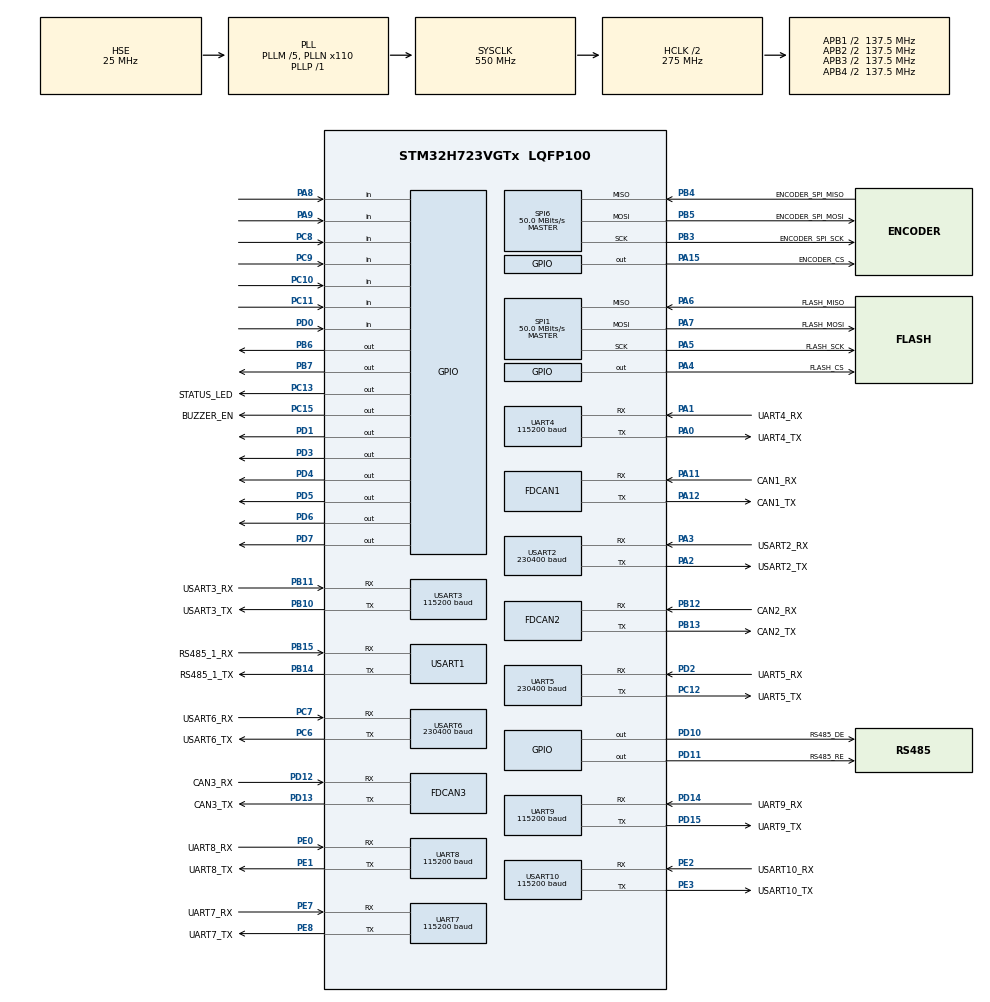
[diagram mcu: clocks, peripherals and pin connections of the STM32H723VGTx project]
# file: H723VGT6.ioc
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Bdma.Request0=SPI6_RX
Bdma.RequestsNb=1
Bdma.SPI6_RX.0.Direction=DMA_PERIPH_TO_MEMORY
Bdma.SPI6_RX.0.EventEnable=DISABLE
Bdma.SPI6_RX.0.Instance=BDMA_Channel0
Bdma.SPI6_RX.0.MemDataAlignment=DMA_MDATAALIGN_BYTE
Bdma.SPI6_RX.0.MemInc=DMA_MINC_ENABLE
Bdma.SPI6_RX.0.Mode=DMA_NORMAL
Bdma.SPI6_RX.0.PeriphDataAlignment=DMA_PDATAALIGN_BYTE
Bdma.SPI6_RX.0.PeriphInc=DMA_PINC_DISABLE
Bdma.SPI6_RX.0.Polarity=HAL_DMAMUX_REQ_GEN_RISING
Bdma.SPI6_RX.0.Priority=DMA_PRIORITY_LOW
Bdma.SPI6_RX.0.RequestNumber=1
Bdma.SPI6_RX.0.SignalID=NONE
Bdma.SPI6_RX.0.SyncEnable=DISABLE
Bdma.SPI6_RX.0.SyncPolarity=HAL_DMAMUX_SYNC_NO_EVENT
Bdma.SPI6_RX.0.SyncRequestNumber=1
Bdma.SPI6_RX.0.SyncSignalID=NONE
CORTEX_M7.CPU_DCache=Enabled
CORTEX_M7.CPU_ICache=Enabled
CORTEX_M7.default_mode_Activation=1
Dma.Request0=UART7_RX
Dma.Request1=UART7_TX
Dma.Request10=UART9_RX
Dma.Request11=USART3_RX
Dma.Request2=USART1_RX
Dma.Request3=SPI1_RX
Dma.Request4=SPI1_TX
Dma.Request5=UART5_RX
Dma.Request6=USART6_RX
Dma.Request7=USART2_RX
Dma.Request8=UART8_RX
Dma.Request9=UART4_RX
Dma.SPI1_RX.3.Direction=DMA_PERIPH_TO_MEMORY
Dma.SPI1_RX.3.EventEnable=DISABLE
Dma.SPI1_RX.3.FIFOMode=DMA_FIFOMODE_DISABLE
Dma.SPI1_RX.3.Instance=DMA1_Stream6
Dma.SPI1_RX.3.MemDataAlignment=DMA_MDATAALIGN_BYTE
Dma.SPI1_RX.3.MemInc=DMA_MINC_ENABLE
Dma.SPI1_RX.3.Mode=DMA_NORMAL
Dma.SPI1_RX.3.PeriphDataAlignment=DMA_PDATAALIGN_BYTE
Dma.SPI1_RX.3.PeriphInc=DMA_PINC_DISABLE
Dma.SPI1_RX.3.Polarity=HAL_DMAMUX_REQ_GEN_RISING
Dma.SPI1_RX.3.Priority=DMA_PRIORITY_HIGH
Dma.SPI1_RX.3.RequestNumber=1
Dma.SPI1_RX.3.SignalID=NONE
Dma.SPI1_RX.3.SyncEnable=DISABLE
Dma.SPI1_RX.3.SyncPolarity=HAL_DMAMUX_SYNC_NO_EVENT
Dma.SPI1_RX.3.SyncRequestNumber=1
Dma.SPI1_RX.3.SyncSignalID=NONE
Dma.SPI1_TX.4.Direction=DMA_MEMORY_TO_PERIPH
Dma.SPI1_TX.4.EventEnable=DISABLE
Dma.SPI1_TX.4.FIFOMode=DMA_FIFOMODE_DISABLE
Dma.SPI1_TX.4.Instance=DMA1_Stream7
Dma.SPI1_TX.4.MemDataAlignment=DMA_MDATAALIGN_BYTE
Dma.SPI1_TX.4.MemInc=DMA_MINC_ENABLE
Dma.SPI1_TX.4.Mode=DMA_NORMAL
Dma.SPI1_TX.4.PeriphDataAlignment=DMA_PDATAALIGN_BYTE
Dma.SPI1_TX.4.PeriphInc=DMA_PINC_DISABLE
Dma.SPI1_TX.4.Polarity=HAL_DMAMUX_REQ_GEN_RISING
Dma.SPI1_TX.4.Priority=DMA_PRIORITY_HIGH
Dma.SPI1_TX.4.RequestNumber=1
Dma.SPI1_TX.4.SignalID=NONE
Dma.SPI1_TX.4.SyncEnable=DISABLE
Dma.SPI1_TX.4.SyncPolarity=HAL_DMAMUX_SYNC_NO_EVENT
Dma.SPI1_TX.4.SyncRequestNumber=1
Dma.SPI1_TX.4.SyncSignalID=NONE
Dma.UART4_RX.9.Direction=DMA_PERIPH_TO_MEMORY
Dma.UART4_RX.9.EventEnable=DISABLE
Dma.UART4_RX.9.FIFOMode=DMA_FIFOMODE_DISABLE
Dma.UART4_RX.9.Instance=DMA2_Stream3
Dma.UART4_RX.9.MemDataAlignment=DMA_MDATAALIGN_BYTE
Dma.UART4_RX.9.MemInc=DMA_MINC_ENABLE
Dma.UART4_RX.9.Mode=DMA_CIRCULAR
Dma.UART4_RX.9.PeriphDataAlignment=DMA_PDATAALIGN_BYTE
Dma.UART4_RX.9.PeriphInc=DMA_PINC_DISABLE
Dma.UART4_RX.9.Polarity=HAL_DMAMUX_REQ_GEN_RISING
Dma.UART4_RX.9.Priority=DMA_PRIORITY_VERY_HIGH
Dma.UART4_RX.9.RequestNumber=1
Dma.UART4_RX.9.SignalID=NONE
Dma.UART4_RX.9.SyncEnable=DISABLE
Dma.UART4_RX.9.SyncPolarity=HAL_DMAMUX_SYNC_NO_EVENT
Dma.UART4_RX.9.SyncRequestNumber=1
Dma.UART4_RX.9.SyncSignalID=NONE
Dma.UART5_RX.5.Direction=DMA_PERIPH_TO_MEMORY
Dma.UART5_RX.5.EventEnable=DISABLE
Dma.UART5_RX.5.FIFOMode=DMA_FIFOMODE_DISABLE
Dma.UART5_RX.5.Instance=DMA2_Stream0
Dma.UART5_RX.5.MemDataAlignment=DMA_MDATAALIGN_BYTE
Dma.UART5_RX.5.MemInc=DMA_MINC_ENABLE
Dma.UART5_RX.5.Mode=DMA_CIRCULAR
Dma.UART5_RX.5.PeriphDataAlignment=DMA_PDATAALIGN_BYTE
Dma.UART5_RX.5.PeriphInc=DMA_PINC_DISABLE
Dma.UART5_RX.5.Polarity=HAL_DMAMUX_REQ_GEN_RISING
Dma.UART5_RX.5.Priority=DMA_PRIORITY_VERY_HIGH
Dma.UART5_RX.5.RequestNumber=1
Dma.UART5_RX.5.SignalID=NONE
Dma.UART5_RX.5.SyncEnable=DISABLE
Dma.UART5_RX.5.SyncPolarity=HAL_DMAMUX_SYNC_NO_EVENT
Dma.UART5_RX.5.SyncRequestNumber=1
Dma.UART5_RX.5.SyncSignalID=NONE
Dma.UART7_RX.0.Direction=DMA_PERIPH_TO_MEMORY
Dma.UART7_RX.0.EventEnable=DISABLE
Dma.UART7_RX.0.FIFOMode=DMA_FIFOMODE_DISABLE
Dma.UART7_RX.0.Instance=DMA1_Stream0
Dma.UART7_RX.0.MemDataAlignment=DMA_MDATAALIGN_BYTE
Dma.UART7_RX.0.MemInc=DMA_MINC_ENABLE
Dma.UART7_RX.0.Mode=DMA_CIRCULAR
Dma.UART7_RX.0.PeriphDataAlignment=DMA_PDATAALIGN_BYTE
Dma.UART7_RX.0.PeriphInc=DMA_PINC_DISABLE
Dma.UART7_RX.0.Polarity=HAL_DMAMUX_REQ_GEN_RISING
Dma.UART7_RX.0.Priority=DMA_PRIORITY_VERY_HIGH
Dma.UART7_RX.0.RequestNumber=1
Dma.UART7_RX.0.SignalID=NONE
Dma.UART7_RX.0.SyncEnable=DISABLE
Dma.UART7_RX.0.SyncPolarity=HAL_DMAMUX_SYNC_NO_EVENT
Dma.UART7_RX.0.SyncRequestNumber=1
Dma.UART7_RX.0.SyncSignalID=NONE
Dma.UART7_TX.1.Direction=DMA_MEMORY_TO_PERIPH
Dma.UART7_TX.1.EventEnable=DISABLE
Dma.UART7_TX.1.FIFOMode=DMA_FIFOMODE_DISABLE
Dma.UART7_TX.1.Instance=DMA1_Stream1
Dma.UART7_TX.1.MemDataAlignment=DMA_MDATAALIGN_BYTE
Dma.UART7_TX.1.MemInc=DMA_MINC_ENABLE
Dma.UART7_TX.1.Mode=DMA_NORMAL
Dma.UART7_TX.1.PeriphDataAlignment=DMA_PDATAALIGN_BYTE
Dma.UART7_TX.1.PeriphInc=DMA_PINC_DISABLE
Dma.UART7_TX.1.Polarity=HAL_DMAMUX_REQ_GEN_RISING
Dma.UART7_TX.1.Priority=DMA_PRIORITY_HIGH
Dma.UART7_TX.1.RequestNumber=1
Dma.UART7_TX.1.SignalID=NONE
Dma.UART7_TX.1.SyncEnable=DISABLE
Dma.UART7_TX.1.SyncPolarity=HAL_DMAMUX_SYNC_NO_EVENT
Dma.UART7_TX.1.SyncRequestNumber=1
Dma.UART7_TX.1.SyncSignalID=NONE
Dma.UART8_RX.8.Direction=DMA_PERIPH_TO_MEMORY
Dma.UART8_RX.8.EventEnable=DISABLE
Dma.UART8_RX.8.FIFOMode=DMA_FIFOMODE_DISABLE
Dma.UART8_RX.8.Instance=DMA2_Stream2
Dma.UART8_RX.8.MemDataAlignment=DMA_MDATAALIGN_BYTE
Dma.UART8_RX.8.MemInc=DMA_MINC_ENABLE
Dma.UART8_RX.8.Mode=DMA_CIRCULAR
Dma.UART8_RX.8.PeriphDataAlignment=DMA_PDATAALIGN_BYTE
Dma.UART8_RX.8.PeriphInc=DMA_PINC_DISABLE
Dma.UART8_RX.8.Polarity=HAL_DMAMUX_REQ_GEN_RISING
Dma.UART8_RX.8.Priority=DMA_PRIORITY_VERY_HIGH
Dma.UART8_RX.8.RequestNumber=1
Dma.UART8_RX.8.SignalID=NONE
Dma.UART8_RX.8.SyncEnable=DISABLE
Dma.UART8_RX.8.SyncPolarity=HAL_DMAMUX_SYNC_NO_EVENT
Dma.UART8_RX.8.SyncRequestNumber=1
Dma.UART8_RX.8.SyncSignalID=NONE
Dma.UART9_RX.10.Direction=DMA_PERIPH_TO_MEMORY
Dma.UART9_RX.10.EventEnable=DISABLE
Dma.UART9_RX.10.FIFOMode=DMA_FIFOMODE_DISABLE
Dma.UART9_RX.10.Instance=DMA1_Stream4
Dma.UART9_RX.10.MemDataAlignment=DMA_MDATAALIGN_BYTE
Dma.UART9_RX.10.MemInc=DMA_MINC_ENABLE
Dma.UART9_RX.10.Mode=DMA_CIRCULAR
Dma.UART9_RX.10.PeriphDataAlignment=DMA_PDATAALIGN_BYTE
Dma.UART9_RX.10.PeriphInc=DMA_PINC_DISABLE
Dma.UART9_RX.10.Polarity=HAL_DMAMUX_REQ_GEN_RISING
Dma.UART9_RX.10.Priority=DMA_PRIORITY_LOW
Dma.UART9_RX.10.RequestNumber=1
Dma.UART9_RX.10.SignalID=NONE
Dma.UART9_RX.10.SyncEnable=DISABLE
Dma.UART9_RX.10.SyncPolarity=HAL_DMAMUX_SYNC_NO_EVENT
Dma.UART9_RX.10.SyncRequestNumber=1
Dma.UART9_RX.10.SyncSignalID=NONE
Dma.USART1_RX.2.Direction=DMA_PERIPH_TO_MEMORY
Dma.USART1_RX.2.EventEnable=DISABLE
Dma.USART1_RX.2.FIFOMode=DMA_FIFOMODE_DISABLE
Dma.USART1_RX.2.Instance=DMA1_Stream2
Dma.USART1_RX.2.MemDataAlignment=DMA_MDATAALIGN_BYTE
Dma.USART1_RX.2.MemInc=DMA_MINC_ENABLE
Dma.USART1_RX.2.Mode=DMA_CIRCULAR
Dma.USART1_RX.2.PeriphDataAlignment=DMA_PDATAALIGN_BYTE
Dma.USART1_RX.2.PeriphInc=DMA_PINC_DISABLE
Dma.USART1_RX.2.Polarity=HAL_DMAMUX_REQ_GEN_RISING
Dma.USART1_RX.2.Priority=DMA_PRIORITY_VERY_HIGH
Dma.USART1_RX.2.RequestNumber=1
Dma.USART1_RX.2.SignalID=NONE
Dma.USART1_RX.2.SyncEnable=DISABLE
Dma.USART1_RX.2.SyncPolarity=HAL_DMAMUX_SYNC_NO_EVENT
Dma.USART1_RX.2.SyncRequestNumber=1
Dma.USART1_RX.2.SyncSignalID=NONE
Dma.USART2_RX.7.Direction=DMA_PERIPH_TO_MEMORY
Dma.USART2_RX.7.EventEnable=DISABLE
Dma.USART2_RX.7.FIFOMode=DMA_FIFOMODE_DISABLE
Dma.USART2_RX.7.Instance=DMA1_Stream3
Dma.USART2_RX.7.MemDataAlignment=DMA_MDATAALIGN_BYTE
Dma.USART2_RX.7.MemInc=DMA_MINC_ENABLE
Dma.USART2_RX.7.Mode=DMA_CIRCULAR
Dma.USART2_RX.7.PeriphDataAlignment=DMA_PDATAALIGN_BYTE
Dma.USART2_RX.7.PeriphInc=DMA_PINC_DISABLE
Dma.USART2_RX.7.Polarity=HAL_DMAMUX_REQ_GEN_RISING
Dma.USART2_RX.7.Priority=DMA_PRIORITY_VERY_HIGH
Dma.USART2_RX.7.RequestNumber=1
Dma.USART2_RX.7.SignalID=NONE
Dma.USART2_RX.7.SyncEnable=DISABLE
Dma.USART2_RX.7.SyncPolarity=HAL_DMAMUX_SYNC_NO_EVENT
Dma.USART2_RX.7.SyncRequestNumber=1
Dma.USART2_RX.7.SyncSignalID=NONE
Dma.USART3_RX.11.Direction=DMA_PERIPH_TO_MEMORY
Dma.USART3_RX.11.EventEnable=DISABLE
Dma.USART3_RX.11.FIFOMode=DMA_FIFOMODE_DISABLE
Dma.USART3_RX.11.Instance=DMA1_Stream5
Dma.USART3_RX.11.MemDataAlignment=DMA_MDATAALIGN_BYTE
Dma.USART3_RX.11.MemInc=DMA_MINC_ENABLE
Dma.USART3_RX.11.Mode=DMA_CIRCULAR
Dma.USART3_RX.11.PeriphDataAlignment=DMA_PDATAALIGN_BYTE
Dma.USART3_RX.11.PeriphInc=DMA_PINC_DISABLE
Dma.USART3_RX.11.Polarity=HAL_DMAMUX_REQ_GEN_RISING
Dma.USART3_RX.11.Priority=DMA_PRIORITY_LOW
Dma.USART3_RX.11.RequestNumber=1
Dma.USART3_RX.11.SignalID=NONE
Dma.USART3_RX.11.SyncEnable=DISABLE
Dma.USART3_RX.11.SyncPolarity=HAL_DMAMUX_SYNC_NO_EVENT
Dma.USART3_RX.11.SyncRequestNumber=1
Dma.USART3_RX.11.SyncSignalID=NONE
Dma.USART6_RX.6.Direction=DMA_PERIPH_TO_MEMORY
Dma.USART6_RX.6.EventEnable=DISABLE
Dma.USART6_RX.6.FIFOMode=DMA_FIFOMODE_DISABLE
Dma.USART6_RX.6.Instance=DMA2_Stream1
Dma.USART6_RX.6.MemDataAlignment=DMA_MDATAALIGN_BYTE
Dma.USART6_RX.6.MemInc=DMA_MINC_ENABLE
Dma.USART6_RX.6.Mode=DMA_CIRCULAR
Dma.USART6_RX.6.PeriphDataAlignment=DMA_PDATAALIGN_BYTE
Dma.USART6_RX.6.PeriphInc=DMA_PINC_DISABLE
Dma.USART6_RX.6.Polarity=HAL_DMAMUX_REQ_GEN_RISING
Dma.USART6_RX.6.Priority=DMA_PRIORITY_VERY_HIGH
Dma.USART6_RX.6.RequestNumber=1
Dma.USART6_RX.6.SignalID=NONE
Dma.USART6_RX.6.SyncEnable=DISABLE
Dma.USART6_RX.6.SyncPolarity=HAL_DMAMUX_SYNC_NO_EVENT
Dma.USART6_RX.6.SyncRequestNumber=1
Dma.USART6_RX.6.SyncSignalID=NONE
FDCAN1.AutoRetransmission=DISABLE
FDCAN1.CalculateBaudRateNominal=1000000
FDCAN1.CalculateTimeBitNominal=1000
FDCAN1.CalculateTimeQuantumNominal=50.0
FDCAN1.DataPrescaler=5
FDCAN1.DataSyncJumpWidth=5
FDCAN1.DataTimeSeg1=14
FDCAN1.DataTimeSeg2=5
FDCAN1.ExtFiltersNbr=1
FDCAN1.Mode=FDCAN_MODE_NORMAL
FDCAN1.NominalPrescaler=5
FDCAN1.NominalSyncJumpWidth=5
FDCAN1.NominalTimeSeg1=16
FDCAN1.NominalTimeSeg2=3
FDCAN1.RxFifo0ElmtsNbr=32
FDCAN1.RxFifo1ElmtsNbr=0
FDCAN1.StdFiltersNbr=1
FDCAN1.TxFifoQueueElmtsNbr=8
FDCAN2.AutoRetransmission=ENABLE
FDCAN2.CalculateBaudRateNominal=1000000
FDCAN2.CalculateTimeBitNominal=1000
FDCAN2.CalculateTimeQuantumNominal=50.0
FDCAN2.DataPrescaler=5
FDCAN2.DataSyncJumpWidth=5
FDCAN2.DataTimeSeg1=14
FDCAN2.DataTimeSeg2=5
FDCAN2.ExtFiltersNbr=1
FDCAN2.MessageRAMOffset=852
FDCAN2.Mode=FDCAN_MODE_NORMAL
FDCAN2.NominalPrescaler=5
FDCAN2.NominalSyncJumpWidth=5
FDCAN2.NominalTimeSeg1=14
FDCAN2.NominalTimeSeg2=5
FDCAN2.RxFifo0ElmtsNbr=32
FDCAN2.StdFiltersNbr=1
FDCAN2.TxFifoQueueElmtsNbr=8
FDCAN3.AutoRetransmission=ENABLE
FDCAN3.CalculateBaudRateNominal=1000000
FDCAN3.CalculateTimeBitNominal=1000
FDCAN3.CalculateTimeQuantumNominal=50.0
FDCAN3.DataPrescaler=5
FDCAN3.DataSyncJumpWidth=5
FDCAN3.DataTimeSeg1=14
FDCAN3.DataTimeSeg2=5
FDCAN3.ExtFiltersNbr=1
FDCAN3.MessageRAMOffset=1704
FDCAN3.Mode=FDCAN_MODE_NORMAL
FDCAN3.NominalPrescaler=5
FDCAN3.NominalSyncJumpWidth=5
FDCAN3.NominalTimeSeg1=14
FDCAN3.NominalTimeSeg2=5
FDCAN3.RxFifo0ElmtsNbr=32
FDCAN3.StdFiltersNbr=1
FDCAN3.TxFifoQueueElmtsNbr=8
FREERTOS.Tasks01=Status_Task,32,1024,Status_Task,As external,NULL,Dynamic,NULL,NULL;SuctionCup_Task,24,512,SuctionCup_Task,As external,NULL,Dynamic,NULL,NULL;Arm_Task,24,512,Arm_Task,As external,NULL,Dynamic,NULL,NULL;Chassis_Task,16,256,Chassis_Task_,As external,NULL,Dynamic,NULL,NULL
FREERTOS.configCHECK_FOR_STACK_OVERFLOW=2
FREERTOS.configENABLE_FPU=1
FREERTOS.configTOTAL_HEAP_SIZE=65536
Mcu.Family=STM32H7
Mcu.Name=STM32H723VGTx
Mcu.Package=LQFP100
NVIC.BDMA_Channel0_IRQn=true\:5\:0\:false\:false\:true\:true\:false\:true\:true
NVIC.DMA1_Stream0_IRQn=true\:5\:0\:false\:false\:true\:true\:true\:true\:true
NVIC.DMA1_Stream1_IRQn=true\:5\:0\:false\:false\:true\:true\:true\:true\:true
NVIC.DMA1_Stream2_IRQn=true\:5\:0\:false\:false\:true\:true\:true\:true\:true
NVIC.DMA1_Stream3_IRQn=true\:5\:0\:false\:false\:true\:true\:true\:true\:true
NVIC.DMA1_Stream4_IRQn=true\:5\:0\:false\:false\:true\:true\:false\:true\:true
NVIC.DMA1_Stream5_IRQn=true\:5\:0\:false\:false\:true\:true\:false\:true\:true
NVIC.DMA1_Stream6_IRQn=true\:5\:0\:false\:false\:true\:true\:true\:true\:true
NVIC.DMA1_Stream7_IRQn=true\:5\:0\:false\:false\:true\:true\:true\:true\:true
NVIC.DMA2_Stream0_IRQn=true\:5\:0\:false\:false\:true\:true\:true\:true\:true
NVIC.DMA2_Stream1_IRQn=true\:5\:0\:false\:false\:true\:true\:true\:true\:true
NVIC.DMA2_Stream2_IRQn=true\:5\:0\:false\:false\:true\:true\:true\:true\:true
NVIC.DMA2_Stream3_IRQn=true\:5\:0\:false\:false\:true\:true\:true\:true\:true
NVIC.FDCAN1_IT0_IRQn=true\:5\:0\:false\:false\:true\:true\:true\:true\:true
NVIC.FDCAN2_IT0_IRQn=true\:5\:0\:false\:false\:true\:true\:true\:true\:true
NVIC.FDCAN3_IT0_IRQn=true\:5\:0\:false\:false\:true\:true\:true\:true\:true
NVIC.PriorityGroup=NVIC_PRIORITYGROUP_4
NVIC.SPI1_IRQn=true\:5\:0\:false\:false\:true\:true\:true\:true\:true
NVIC.SPI6_IRQn=true\:5\:0\:false\:false\:true\:true\:true\:true\:true
NVIC.TIM6_DAC_IRQn=true\:15\:0\:false\:false\:true\:false\:false\:true\:true
NVIC.TimeBase=TIM6_DAC_IRQn
NVIC.TimeBaseIP=TIM6
NVIC.UART4_IRQn=true\:5\:0\:false\:false\:true\:true\:true\:true\:true
NVIC.UART5_IRQn=true\:5\:0\:false\:false\:true\:true\:true\:true\:true
NVIC.UART7_IRQn=true\:5\:0\:false\:false\:true\:true\:true\:true\:true
NVIC.UART8_IRQn=true\:5\:0\:false\:false\:true\:true\:true\:true\:true
NVIC.UART9_IRQn=true\:5\:0\:false\:false\:true\:true\:true\:true\:true
NVIC.USART10_IRQn=true\:5\:0\:false\:false\:true\:true\:true\:true\:true
NVIC.USART1_IRQn=true\:5\:0\:false\:false\:true\:true\:true\:true\:true
NVIC.USART2_IRQn=true\:5\:0\:false\:false\:true\:true\:true\:true\:true
NVIC.USART3_IRQn=true\:5\:0\:false\:false\:true\:true\:true\:true\:true
NVIC.USART6_IRQn=true\:5\:0\:false\:false\:true\:true\:true\:true\:true
PA0.GPIO_Label=UART4_TX
PA0.GPIO_Speed=GPIO_SPEED_FREQ_VERY_HIGH
PA0.Mode=Asynchronous
PA0.Signal=UART4_TX
PA1.GPIO_Label=UART4_RX
PA1.GPIO_Speed=GPIO_SPEED_FREQ_VERY_HIGH
PA1.Mode=Asynchronous
PA1.Signal=UART4_RX
PA11.GPIO_Label=CAN1_RX
PA11.GPIO_Speed=GPIO_SPEED_FREQ_VERY_HIGH
PA11.Mode=FDCAN_Activate
PA11.Signal=FDCAN1_RX
PA12.GPIO_Label=CAN1_TX
PA12.GPIO_Speed=GPIO_SPEED_FREQ_VERY_HIGH
PA12.Mode=FDCAN_Activate
PA12.Signal=FDCAN1_TX
PA13(JTMS/SWDIO).Mode=Serial_Wire
PA13(JTMS/SWDIO).Signal=DEBUG_JTMS-SWDIO
PA14(JTCK/SWCLK).Mode=Serial_Wire
PA14(JTCK/SWCLK).Signal=DEBUG_JTCK-SWCLK
PA15(JTDI).GPIO_Label=ENCODER_CS
PA15(JTDI).GPIO_Speed=GPIO_SPEED_FREQ_VERY_HIGH
PA15(JTDI).PinState=GPIO_PIN_SET
PA15(JTDI).Signal=GPIO_Output
PA2.GPIO_Label=USART2_TX
PA2.GPIO_Speed=GPIO_SPEED_FREQ_VERY_HIGH
PA2.Mode=Asynchronous
PA2.Signal=USART2_TX
PA3.GPIO_Label=USART2_RX
PA3.GPIO_Speed=GPIO_SPEED_FREQ_VERY_HIGH
PA3.Mode=Asynchronous
PA3.Signal=USART2_RX
PA4.GPIO_Label=FLASH_CS
PA4.GPIO_Speed=GPIO_SPEED_FREQ_VERY_HIGH
PA4.PinState=GPIO_PIN_SET
PA4.Signal=GPIO_Output
PA5.GPIO_Label=FLASH_SCK
PA5.GPIO_Speed=GPIO_SPEED_FREQ_VERY_HIGH
PA5.Mode=Full_Duplex_Master
PA5.Signal=SPI1_SCK
PA6.GPIO_Label=FLASH_MISO
PA6.GPIO_Speed=GPIO_SPEED_FREQ_VERY_HIGH
PA6.Mode=Full_Duplex_Master
PA6.Signal=SPI1_MISO
PA7.GPIO_Label=FLASH_MOSI
PA7.GPIO_Speed=GPIO_SPEED_FREQ_VERY_HIGH
PA7.Mode=Full_Duplex_Master
PA7.Signal=SPI1_MOSI
PA8.GPIO_PuPd=GPIO_PULLDOWN
PA8.Signal=GPIO_Input
PA9.GPIO_PuPd=GPIO_PULLUP
PA9.Signal=GPIO_Input
PB10.GPIO_Label=USART3_TX
PB10.GPIO_Speed=GPIO_SPEED_FREQ_VERY_HIGH
PB10.Mode=Asynchronous
PB10.Signal=USART3_TX
PB11.GPIO_Label=USART3_RX
PB11.GPIO_Speed=GPIO_SPEED_FREQ_VERY_HIGH
PB11.Mode=Asynchronous
PB11.Signal=USART3_RX
PB12.GPIO_Label=CAN2_RX
PB12.GPIO_Speed=GPIO_SPEED_FREQ_VERY_HIGH
PB12.Mode=FDCAN_Activate
PB12.Signal=FDCAN2_RX
PB13.GPIO_Label=CAN2_TX
PB13.GPIO_Speed=GPIO_SPEED_FREQ_VERY_HIGH
PB13.Mode=FDCAN_Activate
PB13.Signal=FDCAN2_TX
PB14.GPIO_Label=RS485_1_TX
PB14.GPIO_Speed=GPIO_SPEED_FREQ_VERY_HIGH
PB14.Mode=Asynchronous
PB14.Signal=USART1_TX
PB15.GPIO_Label=RS485_1_RX
PB15.GPIO_Speed=GPIO_SPEED_FREQ_VERY_HIGH
PB15.Mode=Asynchronous
PB15.Signal=USART1_RX
PB3(JTDO/TRACESWO).GPIO_Label=ENCODER_SPI_SCK
PB3(JTDO/TRACESWO).GPIO_Speed=GPIO_SPEED_FREQ_VERY_HIGH
PB3(JTDO/TRACESWO).Mode=Full_Duplex_Master
PB3(JTDO/TRACESWO).Signal=SPI6_SCK
PB4(NJTRST).GPIO_Label=ENCODER_SPI_MISO
PB4(NJTRST).GPIO_Speed=GPIO_SPEED_FREQ_VERY_HIGH
PB4(NJTRST).Mode=Full_Duplex_Master
PB4(NJTRST).Signal=SPI6_MISO
PB5.GPIO_Label=ENCODER_SPI_MOSI
PB5.GPIO_Speed=GPIO_SPEED_FREQ_VERY_HIGH
PB5.Mode=Full_Duplex_Master
PB5.Signal=SPI6_MOSI
PB6.GPIO_PuPd=GPIO_PULLDOWN
PB6.Signal=GPIO_Output
PB7.GPIO_PuPd=GPIO_PULLDOWN
PB7.Signal=GPIO_Output
PC10.GPIO_PuPd=GPIO_PULLUP
PC10.Signal=GPIO_Input
PC11.GPIO_PuPd=GPIO_PULLUP
PC11.Signal=GPIO_Input
PC12.GPIO_Label=UART5_TX
PC12.GPIO_Speed=GPIO_SPEED_FREQ_VERY_HIGH
PC12.Mode=Asynchronous
PC12.Signal=UART5_TX
PC13.GPIO_Label=STATUS_LED
PC13.GPIO_Speed=GPIO_SPEED_FREQ_LOW
PC13.PinState=GPIO_PIN_RESET
PC13.Signal=GPIO_Output
PC15-OSC32_OUT.GPIO_Label=BUZZER_EN
PC15-OSC32_OUT.GPIO_Speed=GPIO_SPEED_FREQ_LOW
PC15-OSC32_OUT.PinState=GPIO_PIN_RESET
PC15-OSC32_OUT.Signal=GPIO_Output
PC6.GPIO_Label=USART6_TX
PC6.GPIO_Speed=GPIO_SPEED_FREQ_VERY_HIGH
PC6.Mode=Asynchronous
PC6.Signal=USART6_TX
PC7.GPIO_Label=USART6_RX
PC7.GPIO_Speed=GPIO_SPEED_FREQ_VERY_HIGH
PC7.Mode=Asynchronous
PC7.Signal=USART6_RX
PC8.GPIO_PuPd=GPIO_PULLDOWN
PC8.Signal=GPIO_Input
PC9.GPIO_PuPd=GPIO_PULLDOWN
PC9.Signal=GPIO_Input
PD0.GPIO_PuPd=GPIO_PULLUP
PD0.Signal=GPIO_Input
PD1.GPIO_PuPd=GPIO_PULLDOWN
PD1.Signal=GPIO_Output
PD10.GPIO_Label=RS485_DE
PD10.GPIO_Speed=GPIO_SPEED_FREQ_LOW
PD10.PinState=GPIO_PIN_RESET
PD10.Signal=GPIO_Output
PD11.GPIO_Label=RS485_RE
PD11.GPIO_Speed=GPIO_SPEED_FREQ_LOW
PD11.PinState=GPIO_PIN_RESET
PD11.Signal=GPIO_Output
PD12.GPIO_Label=CAN3_RX
PD12.GPIO_Speed=GPIO_SPEED_FREQ_VERY_HIGH
PD12.Mode=FDCAN_Activate
PD12.Signal=FDCAN3_RX
PD13.GPIO_Label=CAN3_TX
PD13.GPIO_Speed=GPIO_SPEED_FREQ_VERY_HIGH
PD13.Mode=FDCAN_Activate
PD13.Signal=FDCAN3_TX
PD14.GPIO_Label=UART9_RX
PD14.GPIO_Speed=GPIO_SPEED_FREQ_VERY_HIGH
PD14.Mode=Asynchronous
PD14.Signal=UART9_RX
PD15.GPIO_Label=UART9_TX
PD15.GPIO_Speed=GPIO_SPEED_FREQ_VERY_HIGH
PD15.Mode=Asynchronous
PD15.Signal=UART9_TX
PD2.GPIO_Label=UART5_RX
PD2.GPIO_Speed=GPIO_SPEED_FREQ_VERY_HIGH
PD2.Mode=Asynchronous
PD2.Signal=UART5_RX
PD3.GPIO_PuPd=GPIO_PULLDOWN
PD3.Signal=GPIO_Output
PD4.GPIO_PuPd=GPIO_PULLDOWN
PD4.Signal=GPIO_Output
PD5.GPIO_PuPd=GPIO_PULLDOWN
PD5.Signal=GPIO_Output
PD6.GPIO_PuPd=GPIO_PULLDOWN
PD6.Signal=GPIO_Output
PD7.GPIO_PuPd=GPIO_PULLDOWN
PD7.Signal=GPIO_Output
PE0.GPIO_Label=UART8_RX
PE0.GPIO_Speed=GPIO_SPEED_FREQ_VERY_HIGH
PE0.Mode=Asynchronous
PE0.Signal=UART8_RX
PE1.GPIO_Label=UART8_TX
PE1.GPIO_Speed=GPIO_SPEED_FREQ_VERY_HIGH
PE1.Mode=Asynchronous
PE1.Signal=UART8_TX
PE2.GPIO_Label=USART10_RX
PE2.GPIO_Speed=GPIO_SPEED_FREQ_VERY_HIGH
PE2.Mode=Asynchronous
PE2.Signal=USART10_RX
PE3.GPIO_Label=USART10_TX
PE3.GPIO_Speed=GPIO_SPEED_FREQ_VERY_HIGH
PE3.Mode=Asynchronous
PE3.Signal=USART10_TX
PE7.GPIO_Label=UART7_RX
PE7.GPIO_Speed=GPIO_SPEED_FREQ_VERY_HIGH
PE7.Mode=Asynchronous
PE7.Signal=UART7_RX
PE8.GPIO_Label=UART7_TX
PE8.GPIO_Speed=GPIO_SPEED_FREQ_VERY_HIGH
PE8.Mode=Asynchronous
PE8.Signal=UART7_TX
PH0-OSC_IN.Mode=HSE-External-Oscillator
PH0-OSC_IN.Signal=RCC_OSC_IN
PH1-OSC_OUT.Mode=HSE-External-Oscillator
PH1-OSC_OUT.Signal=RCC_OSC_OUT
ProjectManager.HeapSize=0x800
ProjectManager.StackSize=0x1000
ProjectManager.TargetToolchain=MDK-ARM V5.32
RCC.ADCFreq_Value=100000000
RCC.APB1Freq_Value=137500000
RCC.APB2Freq_Value=137500000
RCC.APB3Freq_Value=137500000
RCC.APB4Freq_Value=137500000
RCC.CortexFreq_Value=550000000
RCC.D1PPRE=RCC_APB3_DIV2
RCC.D2PPRE1=RCC_APB1_DIV2
RCC.D2PPRE2=RCC_APB2_DIV2
RCC.D3PPRE=RCC_APB4_DIV2
RCC.DIVM1=5
RCC.DIVM2=5
RCC.DIVM3=5
RCC.DIVN1=110
RCC.DIVN2=40
RCC.DIVN3=160
RCC.DIVP1=1
RCC.DIVQ3=4
RCC.FDCANCLockSelection=RCC_FDCANCLKSOURCE_PLL2
RCC.HCLKFreq_Value=275000000
RCC.HPRE=RCC_HCLK_DIV2
RCC.HSE_VALUE=25000000
RCC.PLL1_VCO_SEL-AdvancedSettings=RCC_PLL1VCOMEDIUM
RCC.PLL2FRACN=0
RCC.PLL2_VCO_SEL-AdvancedSettings=RCC_PLL2VCOMEDIUM
RCC.PLL3FRACN=0
RCC.PLLFRACN=0
RCC.PLLSourceVirtual=RCC_PLLSOURCE_HSE
RCC.SPI123CLockSelection=RCC_SPI123CLKSOURCE_PLL2
RCC.SPI6CLockSelection=RCC_SPI6CLKSOURCE_PLL3
RCC.SYSCLKFreq_VALUE=550000000
RCC.SYSCLKSource=RCC_SYSCLKSOURCE_PLLCLK
RCC.USART16CLockSelection=RCC_USART16910CLKSOURCE_PLL2
RCC.USART234578CLockSelection=RCC_USART234578CLKSOURCE_PLL2
RCC.USBFreq_Value=275000000
SPI1.CalculateBaudRate=50.0 MBits/s
SPI1.DataSize=SPI_DATASIZE_8BIT
SPI1.Direction=SPI_DIRECTION_2LINES
SPI1.Mode=SPI_MODE_MASTER
SPI1.VirtualType=VM_MASTER
SPI6.BaudRatePrescaler=SPI_BAUDRATEPRESCALER_4
SPI6.CLKPhase=SPI_PHASE_2EDGE
SPI6.CLKPolarity=SPI_POLARITY_HIGH
SPI6.CalculateBaudRate=50.0 MBits/s
SPI6.DataSize=SPI_DATASIZE_8BIT
SPI6.Direction=SPI_DIRECTION_2LINES
SPI6.Mode=SPI_MODE_MASTER
SPI6.NSSPMode=SPI_NSS_PULSE_DISABLE
SPI6.VirtualType=VM_MASTER
UART4.BaudRate=115200
UART4.VirtualMode-Asynchronous=VM_ASYNC
UART5.BaudRate=230400
UART5.VirtualMode-Asynchronous=VM_ASYNC
UART7.BaudRate=115200
UART7.VirtualMode-Asynchronous=VM_ASYNC
UART8.BaudRate=115200
UART8.VirtualMode-Asynchronous=VM_ASYNC
UART9.BaudRate=115200
UART9.VirtualMode-Asynchronous=VM_ASYNC
USART1.VirtualMode-Asynchronous=VM_ASYNC
USART10.BaudRate=115200
USART10.VirtualMode=VM_ASYNC
USART10.VirtualMode-Asynchronous=VM_ASYNC
USART2.BaudRate=230400
USART2.VirtualMode-Asynchronous=VM_ASYNC
USART3.BaudRate=115200
USART3.VirtualMode-Asynchronous=VM_ASYNC
USART6.BaudRate=230400
USART6.VirtualMode=VM_ASYNC
USART6.VirtualMode-Asynchronous=VM_ASYNC
VP_FREERTOS_VS_CMSIS_V2.Mode=CMSIS_V2
VP_MEMORYMAP_VS_MEMORYMAP.Mode=CurAppReg
VP_SYS_VS_tim6.Mode=TIM6
board=custom

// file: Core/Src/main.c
/* USER CODE BEGIN Header */
/**
  ******************************************************************************
  * @file           : main.c
  * @brief          : Main program body
  ******************************************************************************
  * @attention
  *
  * Copyright (c) 2026 STMicroelectronics.
  * All rights reserved.
  *
  * This software is licensed under terms that can be found in the LICENSE file
  * in the root directory of this software component.
  * If no LICENSE file comes with this software, it is provided AS-IS.
  *
  ******************************************************************************
  */
/* USER CODE END Header */
#include "main.h"
#include "cmsis_os.h"
#include "bdma.h"
#include "dma.h"
#include "fdcan.h"
#include "spi.h"
#include "usart.h"
#include "gpio.h"

/* USER CODE BEGIN Includes */
/* BR: no TR down mechanism. */
#include "my_main.h"
#include "bsp_can.h"
/* USER CODE END Includes */

/* USER CODE BEGIN PV */
  uint8_t ver;
/* USER CODE END PV */

void SystemClock_Config(void);
void PeriphCommonClock_Config(void);
static void MPU_Config(void);
void MX_FREERTOS_Init(void);

int main(void)
{

  /* MPU Configuration--------------------------------------------------------*/
  MPU_Config();

  /* Enable the CPU Cache */

  /* Enable I-Cache---------------------------------------------------------*/
  SCB_EnableICache();

  /* Enable D-Cache---------------------------------------------------------*/
  SCB_EnableDCache();

  /* MCU Configuration--------------------------------------------------------*/

  /* Reset of all peripherals, Initializes the Flash interface and the Systick. */
  HAL_Init();

  /* Configure the system clock */
  SystemClock_Config();

  /* Configure the peripherals common clocks */
  PeriphCommonClock_Config();

  /* Initialize all con·figured peripherals */
  MX_GPIO_Init();
  MX_DMA_Init();
  MX_BDMA_Init();
  MX_FDCAN1_Init();
  MX_FDCAN2_Init();
  MX_FDCAN3_Init();
  MX_SPI1_Init();
  MX_SPI6_Init();
  MX_UART4_Init();
  MX_USART1_UART_Init();
  MX_USART2_UART_Init();
  MX_UART5_Init();
  MX_UART7_Init();
  MX_UART8_Init();
  MX_UART9_Init();
  MX_USART3_UART_Init();
  MX_USART10_UART_Init();
  MX_USART6_UART_Init();
  /* USER CODE BEGIN 2 */
  /* Flash commands use 8-bit SPI frames. */
  hspi1.Init.DataSize = SPI_DATASIZE_8BIT;
  (void)HAL_SPI_Init(&hspi1);

  My_Init();

  /* USER CODE END 2 */

  /* Init scheduler */
  osKernelInitialize();  /* Call init function for freertos objects (in cmsis_os2.c) */
  MX_FREERTOS_Init();

  /* Start scheduler */
  osKernelStart();

  /* We should never get here as control is now taken by the scheduler */

  /* Infinite loop */
  while (1)
  {

  }
}

void SystemClock_Config(void)
{
  RCC_OscInitTypeDef RCC_OscInitStruct = {0};
  RCC_ClkInitTypeDef RCC_ClkInitStruct = {0};

  /** Supply configuration update enable
  */
  HAL_PWREx_ConfigSupply(PWR_LDO_SUPPLY);

  /** Configure the main internal regulator output voltage
  */
  __HAL_PWR_VOLTAGESCALING_CONFIG(PWR_REGULATOR_VOLTAGE_SCALE0);

  while(!__HAL_PWR_GET_FLAG(PWR_FLAG_VOSRDY)) {}

  /** Initializes the RCC Oscillators according to the specified parameters
  * in the RCC_OscInitTypeDef structure.
  */
  RCC_OscInitStruct.OscillatorType = RCC_OSCILLATORTYPE_HSE;
  RCC_OscInitStruct.HSEState = RCC_HSE_ON;
  RCC_OscInitStruct.PLL.PLLState = RCC_PLL_ON;
  RCC_OscInitStruct.PLL.PLLSource = RCC_PLLSOURCE_HSE;
  RCC_OscInitStruct.PLL.PLLM = 5;
  RCC_OscInitStruct.PLL.PLLN = 110;
  RCC_OscInitStruct.PLL.PLLP = 1;
  RCC_OscInitStruct.PLL.PLLQ = 2;
  RCC_OscInitStruct.PLL.PLLR = 2;
  RCC_OscInitStruct.PLL.PLLRGE = RCC_PLL1VCIRANGE_2;
  RCC_OscInitStruct.PLL.PLLVCOSEL = RCC_PLL1VCOWIDE;
  RCC_OscInitStruct.PLL.PLLFRACN = 0;
  if (HAL_RCC_OscConfig(&RCC_OscInitStruct) != HAL_OK)
  {
    Error_Handler();
  }

  /** Initializes the CPU, AHB and APB buses clocks
  */
  RCC_ClkInitStruct.ClockType = RCC_CLOCKTYPE_HCLK|RCC_CLOCKTYPE_SYSCLK
                              |RCC_CLOCKTYPE_PCLK1|RCC_CLOCKTYPE_PCLK2
                              |RCC_CLOCKTYPE_D3PCLK1|RCC_CLOCKTYPE_D1PCLK1;
  RCC_ClkInitStruct.SYSCLKSource = RCC_SYSCLKSOURCE_PLLCLK;
  RCC_ClkInitStruct.SYSCLKDivider = RCC_SYSCLK_DIV1;
  RCC_ClkInitStruct.AHBCLKDivider = RCC_HCLK_DIV2;
  RCC_ClkInitStruct.APB3CLKDivider = RCC_APB3_DIV2;
  RCC_ClkInitStruct.APB1CLKDivider = RCC_APB1_DIV2;
  RCC_ClkInitStruct.APB2CLKDivider = RCC_APB2_DIV2;
  RCC_ClkInitStruct.APB4CLKDivider = RCC_APB4_DIV2;

  if (HAL_RCC_ClockConfig(&RCC_ClkInitStruct, FLASH_LATENCY_3) != HAL_OK)
  {
    Error_Handler();
  }
}

void PeriphCommonClock_Config(void)
{
  RCC_PeriphCLKInitTypeDef PeriphClkInitStruct = {0};

  /** Initializes the peripherals clock
  */
  PeriphClkInitStruct.PeriphClockSelection = RCC_PERIPHCLK_SPI1|RCC_PERIPHCLK_UART5
                              |RCC_PERIPHCLK_UART8|RCC_PERIPHCLK_FDCAN
                              |RCC_PERIPHCLK_USART1|RCC_PERIPHCLK_USART6
                              |RCC_PERIPHCLK_USART10|RCC_PERIPHCLK_UART9
                              |RCC_PERIPHCLK_UART7|RCC_PERIPHCLK_UART4
                              |RCC_PERIPHCLK_USART2|RCC_PERIPHCLK_USART3;
  PeriphClkInitStruct.PLL2.PLL2M = 5;
  PeriphClkInitStruct.PLL2.PLL2N = 40;
  PeriphClkInitStruct.PLL2.PLL2P = 2;
  PeriphClkInitStruct.PLL2.PLL2Q = 2;
  PeriphClkInitStruct.PLL2.PLL2R = 2;
  PeriphClkInitStruct.PLL2.PLL2RGE = RCC_PLL2VCIRANGE_2;
  PeriphClkInitStruct.PLL2.PLL2VCOSEL = RCC_PLL2VCOWIDE;
  PeriphClkInitStruct.PLL2.PLL2FRACN = 0;
  PeriphClkInitStruct.Spi123ClockSelection = RCC_SPI123CLKSOURCE_PLL2;
  PeriphClkInitStruct.FdcanClockSelection = RCC_FDCANCLKSOURCE_PLL2;
  PeriphClkInitStruct.Usart234578ClockSelection = RCC_USART234578CLKSOURCE_PLL2;
  PeriphClkInitStruct.Usart16ClockSelection = RCC_USART16910CLKSOURCE_PLL2;
  if (HAL_RCCEx_PeriphCLKConfig(&PeriphClkInitStruct) != HAL_OK)
  {
    Error_Handler();
  }
}

 /* MPU Configuration */

void MPU_Config(void)
{
  MPU_Region_InitTypeDef MPU_InitStruct = {0};

  /* Disables the MPU */
  HAL_MPU_Disable();

  /** Initializes and configures the Region and the memory to be protected
  */
  MPU_InitStruct.Enable = MPU_REGION_ENABLE;
  MPU_InitStruct.Number = MPU_REGION_NUMBER0;
  MPU_InitStruct.BaseAddress = 0x0;
  MPU_InitStruct.Size = MPU_REGION_SIZE_4GB;
  MPU_InitStruct.SubRegionDisable = 0x87;
  MPU_InitStruct.TypeExtField = MPU_TEX_LEVEL0;
  MPU_InitStruct.AccessPermission = MPU_REGION_NO_ACCESS;
  MPU_InitStruct.DisableExec = MPU_INSTRUCTION_ACCESS_DISABLE;
  MPU_InitStruct.IsShareable = MPU_ACCESS_SHAREABLE;
  MPU_InitStruct.IsCacheable = MPU_ACCESS_NOT_CACHEABLE;
  MPU_InitStruct.IsBufferable = MPU_ACCESS_NOT_BUFFERABLE;

  HAL_MPU_ConfigRegion(&MPU_InitStruct);
  /* Enables the MPU */
  HAL_MPU_Enable(MPU_PRIVILEGED_DEFAULT);

}

void HAL_TIM_PeriodElapsedCallback(TIM_HandleTypeDef *htim)
{
  if (htim->Instance == TIM6)
  {
    HAL_IncTick();
  }
  /* USER CODE BEGIN Callback 1 */
  {
    static uint8_t can_poll_divider;

    if (htim->Instance == TIM6)
    {
      can_poll_divider++;
      if (can_poll_divider >= 2U)
      {
        can_poll_divider = 0U;
        BspCan_Poll(&hfdcan2);
        BspCan_Poll(&hfdcan3);
      }
    }
  }
  /* USER CODE END Callback 1 */
}

void Error_Handler(void)
{
  __disable_irq();
  while (1)
  {
  }
}

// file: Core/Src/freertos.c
/* USER CODE BEGIN Header */
/* CubeMX RTOS entry point with the user task setup kept in this file. */
/* USER CODE END Header */

#include "FreeRTOS.h"
#include "task.h"
#include "main.h"
#include "cmsis_os.h"

/* USER CODE BEGIN Includes */
#include "my_main.h"
#include "status_task.h"

/* USER CODE END Includes */

/* Definitions for Status_Task */
osThreadId_t Status_TaskHandle;
const osThreadAttr_t Status_Task_attributes = {
  .name = "Status_Task",
  .stack_size = 1024 * 4,
  .priority = (osPriority_t) osPriorityAboveNormal,
};
/* Definitions for SuctionCup_Task */
osThreadId_t SuctionCup_TaskHandle;
const osThreadAttr_t SuctionCup_Task_attributes = {
  .name = "SuctionCup_Task",
  .stack_size = 512 * 4,
  .priority = (osPriority_t) osPriorityNormal,
};
/* Definitions for Arm_Task */
osThreadId_t Arm_TaskHandle;
const osThreadAttr_t Arm_Task_attributes = {
  .name = "Arm_Task",
  .stack_size = 512 * 4,
  .priority = (osPriority_t) osPriorityNormal,
};
/* Definitions for Chassis_Task */
osThreadId_t Chassis_TaskHandle;
const osThreadAttr_t Chassis_Task_attributes = {
  .name = "Chassis_Task",
  .stack_size = 256 * 4,
  .priority = (osPriority_t) osPriorityBelowNormal,
};

extern void Status_Task(void *argument);
extern void SuctionCup_Task(void *argument);
extern void Arm_Task(void *argument);
extern void Chassis_Task_(void *argument);

void MX_FREERTOS_Init(void); /* (MISRA C 2004 rule 8.1) */

/* Hook prototypes */
void vApplicationStackOverflowHook(TaskHandle_t xTask, char *pcTaskName);

/* USER CODE BEGIN 4 */
/* These variables remain visible in the debugger after a stack overflow. */
volatile TaskHandle_t g_stack_overflow_task = NULL;
volatile char *g_stack_overflow_task_name = NULL;

void vApplicationStackOverflowHook(TaskHandle_t xTask, char *pcTaskName)
{
    g_stack_overflow_task = xTask;
    g_stack_overflow_task_name = pcTaskName;

    /* Keep the CPU here so the failing task and task name can be inspected. */
    taskDISABLE_INTERRUPTS();
    for (;;)
    {
    }
}
/* USER CODE END 4 */

void MX_FREERTOS_Init(void) {

  /* USER CODE BEGIN RTOS_QUEUES */
  Queue_Init();
  /* USER CODE END RTOS_QUEUES */

  /* Create the thread(s) */
  /* creation of Status_Task */
  Status_TaskHandle = osThreadNew(Status_Task, NULL, &Status_Task_attributes);

  /* creation of SuctionCup_Task */
  SuctionCup_TaskHandle = osThreadNew(SuctionCup_Task, NULL, &SuctionCup_Task_attributes);

  /* creation of Arm_Task */
  Arm_TaskHandle = osThreadNew(Arm_Task, NULL, &Arm_Task_attributes);

  /* creation of Chassis_Task */
  Chassis_TaskHandle = osThreadNew(Chassis_Task_, NULL, &Chassis_Task_attributes);

  /* USER CODE BEGIN RTOS_THREADS */
  My_RtosInit();

  /* USER CODE END RTOS_THREADS */

}

__weak void Status_Task(void *argument)
{
  for(;;)
  {
    osDelay(1);
  }
}
